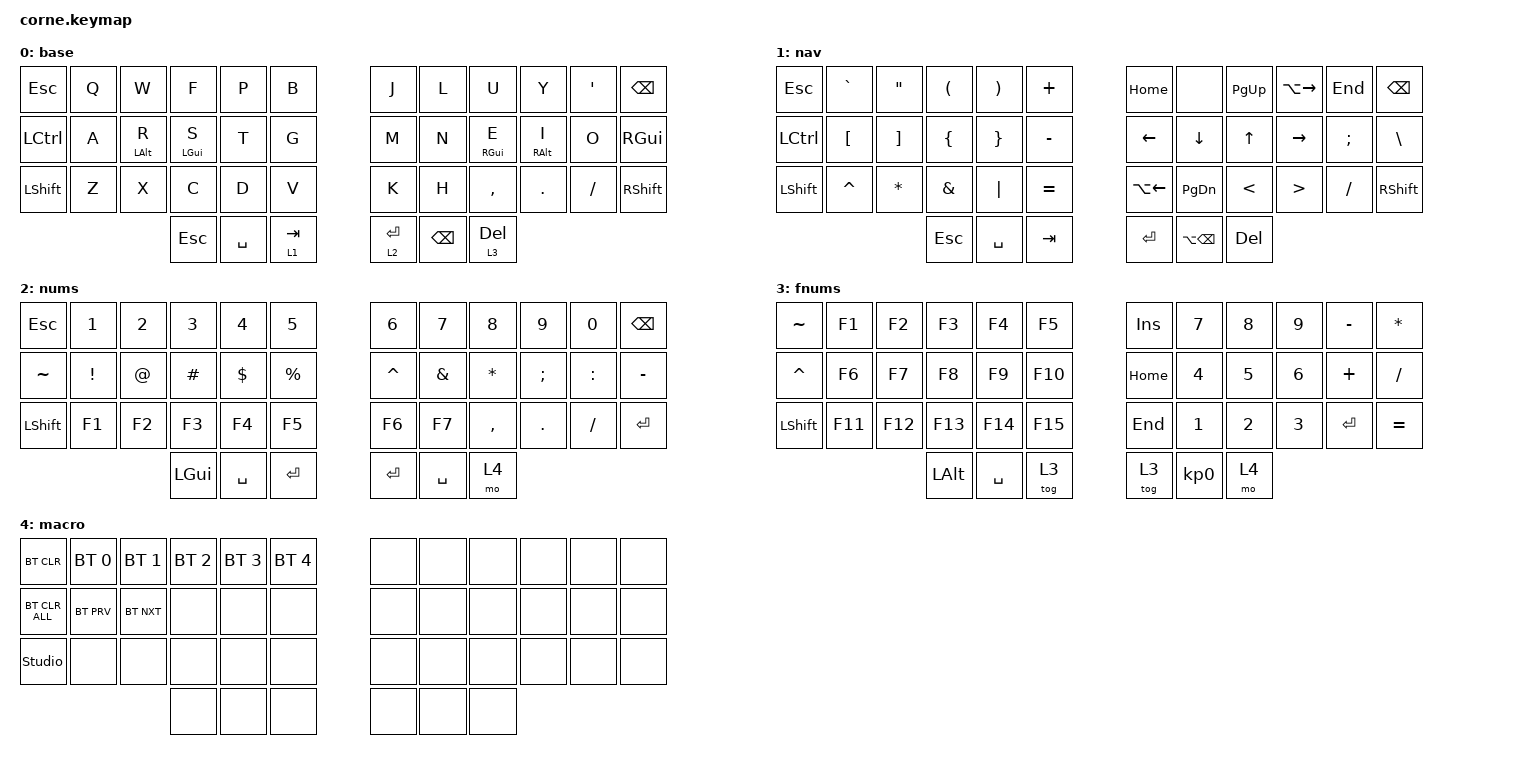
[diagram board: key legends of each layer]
/*
 * Copyright (c) 2020 The ZMK Contributors
 *
 * SPDX-License-Identifier: MIT
 */

#include <behaviors.dtsi>
#include <dt-bindings/zmk/bt.h>
#include <dt-bindings/zmk/keys.h>

/ {
    behaviors {
        hrml: hrml {
            compatible = "zmk,behavior-hold-tap";
            label = "HRML";
            bindings = <&kp>, <&kp>;

            #binding-cells = <2>;
            flavor = "balanced";
            hold-trigger-key-positions = <6 7 8 9 10 11 18 19 20 21 22 23 30 31 32 33 34 35 39 40 41 38 37 36>;
            hold-trigger-on-release;
            tapping-term-ms = <280>;
            quick-tap-ms = <175>;
            require-prior-idle-ms = <150>;
        };

        hrmr: hrmr {
            compatible = "zmk,behavior-hold-tap";
            label = "HRMR";
            bindings = <&kp>, <&kp>;

            #binding-cells = <2>;
            flavor = "balanced";
            hold-trigger-on-release;
            tapping-term-ms = <280>;
            quick-tap-ms = <175>;
            require-prior-idle-ms = <150>;
            hold-trigger-key-positions = <0 1 2 3 4 5 12 13 14 15 16 17 24 25 26 27 28 29 36 37 38 39 40 41>;
        };
    };

    keymap {
        compatible = "zmk,keymap";

        base_layer {
            display-name = "base";
            bindings = <
&kp ESC    &kp Q  &kp W         &kp F         &kp P      &kp B        &kp J        &kp L          &kp U         &kp Y         &kp SQT   &kp BSPC
&kp LCTRL  &kp A  &hrml LALT R  &hrml LGUI S  &kp T      &kp G        &kp M        &kp N          &hrmr RGUI E  &hrmr RALT I  &kp O     &kp RGUI
&kp LSHFT  &kp Z  &kp X         &kp C         &kp D      &kp V        &kp K        &kp H          &kp COMMA     &kp DOT       &kp FSLH  &kp RSHIFT
                                &kp ESC       &kp SPACE  &lt 1 TAB    &lt 2 ENTER  &kp BACKSPACE  &lt 3 DEL
            >;
        };

        nav_layer {
            display-name = "nav";
            bindings = <
&kp ESC    &kp GRAVE  &kp DOUBLE_QUOTES  &kp LEFT_PARENTHESIS  &kp RIGHT_PARENTHESIS  &kp PLUS     &kp HOME      &none              &kp PAGE_UP    &kp LA(RIGHT)     &kp END    &kp BACKSPACE
&kp LCTRL  &kp LBKT   &kp RBKT           &kp LEFT_BRACE        &kp RIGHT_BRACE        &kp MINUS    &kp LEFT      &kp DOWN           &kp UP_ARROW   &kp RIGHT         &kp SEMI   &kp BACKSLASH
&kp LSHFT  &kp CARET  &kp ASTERISK       &kp AMPS              &kp PIPE               &kp EQUAL    &kp LA(LEFT)  &kp PAGE_DOWN      &kp LESS_THAN  &kp GREATER_THAN  &kp SLASH  &kp RSHFT
                                         &kp ESC               &kp SPACE              &kp TAB      &kp ENTER     &kp LA(BACKSPACE)  &kp DEL
            >;

            label = "nav";
        };

        num_layer {
            display-name = "nums";
            bindings = <
&kp ESC    &kp N1    &kp N2  &kp N3    &kp N4      &kp N5         &kp N6     &kp N7     &kp N8     &kp N9         &kp N0     &kp BACKSPACE
&kp TILDE  &kp EXCL  &kp AT  &kp HASH  &kp DOLLAR  &kp PERCENT    &kp CARET  &kp AMPS   &kp ASTRK  &kp SEMICOLON  &kp COLON  &kp MINUS
&kp LSHFT  &kp F1    &kp F2  &kp F3    &kp F4      &kp F5         &kp F6     &kp F7     &kp COMMA  &kp DOT        &kp FSLH   &kp ENTER
                             &kp LGUI  &kp SPACE   &kp ENTER      &kp RET    &kp SPACE  &mo 4
            >;

            label = "nums";
        };

        fnum_layer {
            bindings = <
&kp TILDE  &kp F1   &kp F2   &kp F3        &kp F4     &kp F5     &kp INSERT  &kp N7           &kp N8  &kp N9  &kp MINUS  &kp STAR
&kp CARET  &kp F6   &kp F7   &kp F8        &kp F9     &kp F10    &kp HOME    &kp N4           &kp N5  &kp N6  &kp PLUS   &kp FSLH
&kp LSHFT  &kp F11  &kp F12  &kp F13       &kp F14    &kp F15    &kp END     &kp N1           &kp N2  &kp N3  &kp RET    &kp EQUAL
                             &kp LEFT_ALT  &kp SPACE  &tog 3     &tog 3      &kp KP_NUMBER_0  &mo 4
            >;

            label = "fnums";
        };

        macro_layer {
            bindings = <
&bt BT_CLR      &bt BT_SEL 0  &bt BT_SEL 1  &bt BT_SEL 2  &bt BT_SEL 3  &bt BT_SEL 4    &none  &none  &none  &none  &none  &none
&bt BT_CLR_ALL  &bt BT_PRV    &bt BT_NXT    &none         &none         &none           &none  &none  &none  &none  &none  &none
&studio_unlock  &none         &none         &none         &none         &none           &none  &none  &none  &none  &none  &none
                                            &none         &none         &none           &none  &none  &none
            >;

            label = "macro";
        };
    };
};
